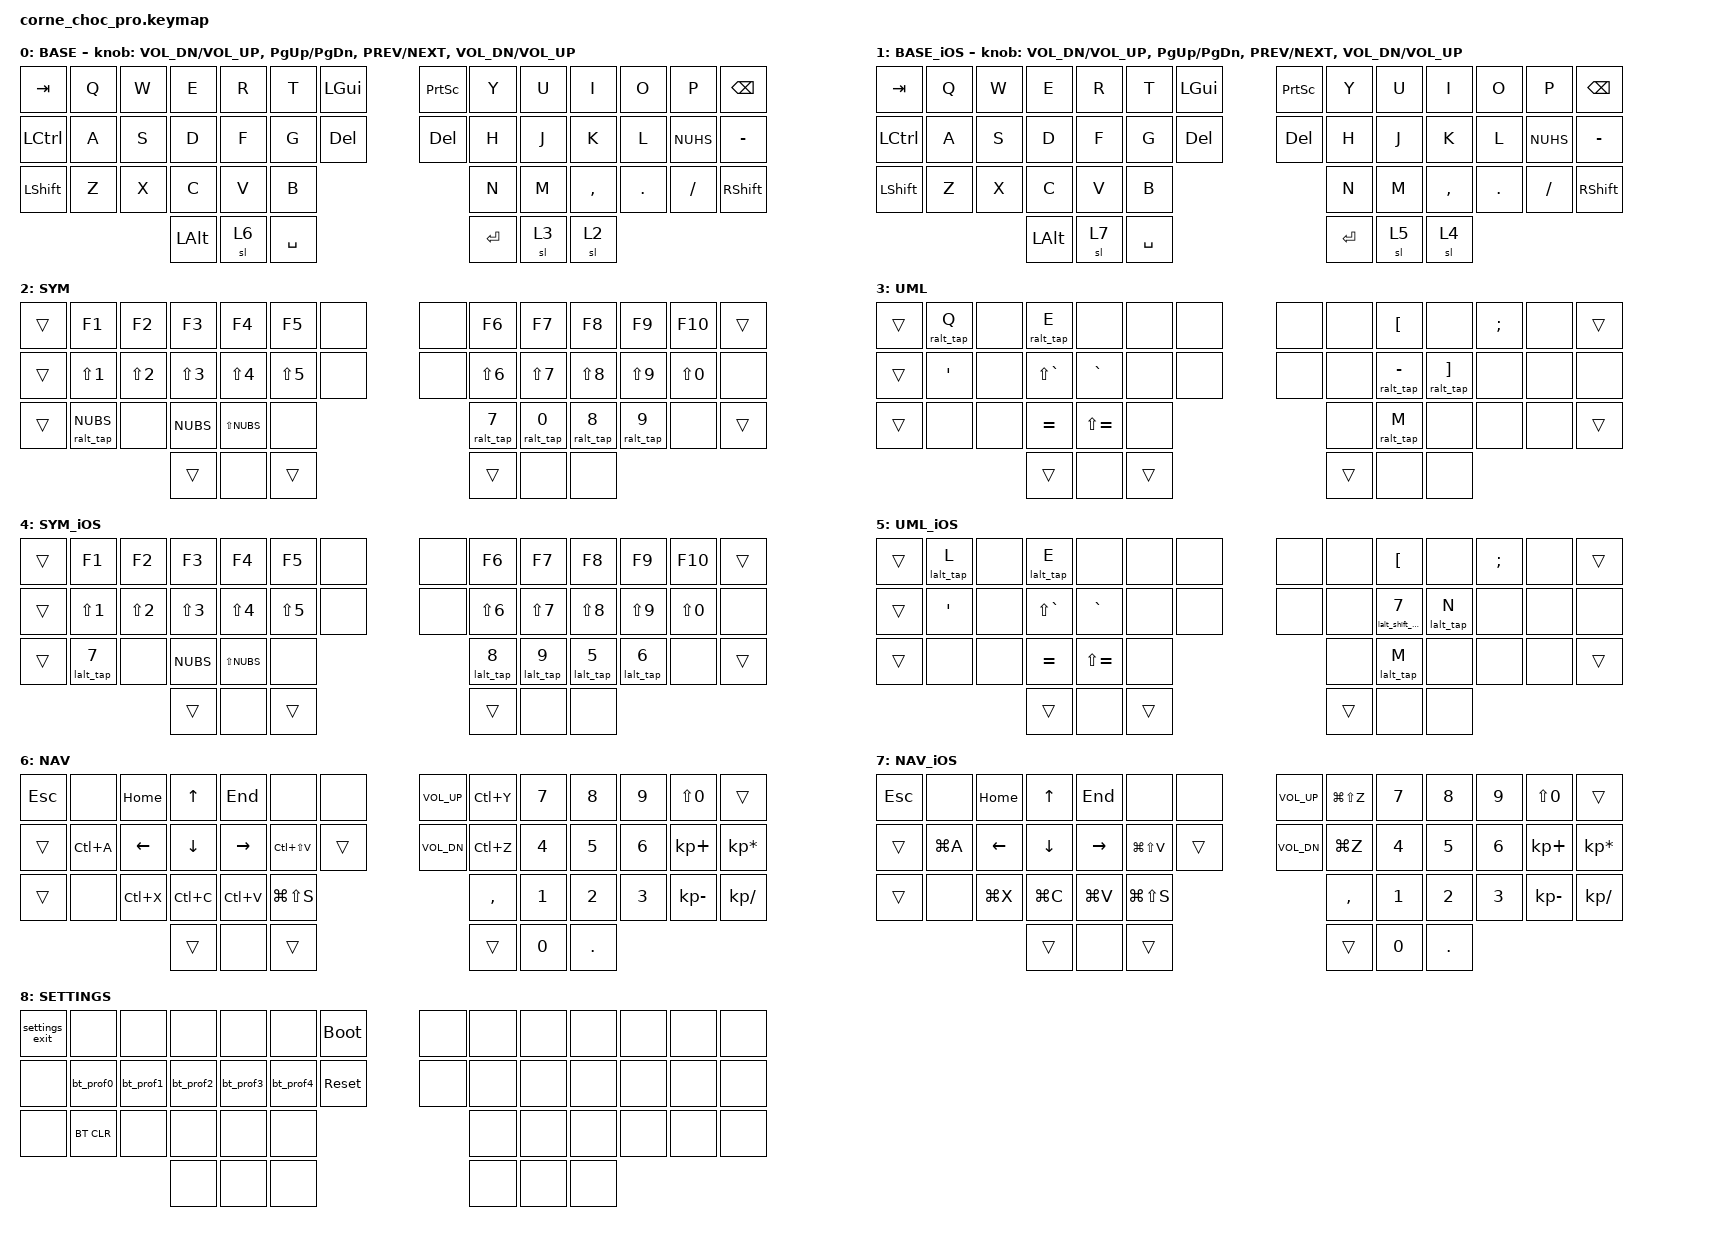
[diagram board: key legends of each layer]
/*
 * Copyright (c) 2020 The ZMK Contributors
 *
 * SPDX-License-Identifier: MIT
 *
 * Ported from a QMK keymap.c (German ISO Corne Choc Pro, LAYOUT_split_3x6_3_ex2).
 *
 * Layer order:
 *   0 base, 1 base_ios, 2 sym, 3 uml, 4 sym_ios, 5 uml_ios,
 *   6 nav, 7 nav_ios, 8 settings
 *
 * --- Windows / iPad switching ---
 * BT profile 2 is the iPad; profiles 0, 1, 3, 4 are treated as Windows.
 * Selecting a profile in SETTINGS automatically switches the default base layer: 
 *   - 0 for Windows (points to standard sym/uml/nav layers)
 *   - 1 for iPad (points to ios-specific sym/uml/nav layers)
 */

#include <behaviors.dtsi>
#include <dt-bindings/zmk/keys.h>
#include <dt-bindings/zmk/bt.h>
#include <dt-bindings/zmk/rgb.h>

/ {
    chosen {
        zmk,physical-layout = &default_layout;
    };
};

/ {
    macros {
        settings_enter: settings_enter {
            compatible = "zmk,behavior-macro";
            #binding-cells = <0>;
            bindings = <&rgb_ug RGB_ON>, <&tog 8>;
        };

        settings_exit: settings_exit {
            compatible = "zmk,behavior-macro";
            #binding-cells = <0>;
            bindings = <&rgb_ug RGB_OFF>, <&tog 8>;
        };

        ralt_tap: ralt_tap {
            compatible = "zmk,behavior-macro-one-param";
            #binding-cells = <1>;
            wait-ms = <15>;
            tap-ms = <15>;
            bindings
                = <&macro_press &kp RALT>
                , <&macro_param_1to1>
                , <&macro_tap &kp MACRO_PLACEHOLDER>
                , <&macro_release &kp RALT>
                ;
        };

        lalt_tap: lalt_tap {
            compatible = "zmk,behavior-macro-one-param";
            #binding-cells = <1>;
            wait-ms = <15>;
            tap-ms = <15>;
            bindings
                = <&macro_press &kp LALT>
                , <&macro_param_1to1>
                , <&macro_tap &kp MACRO_PLACEHOLDER>
                , <&macro_release &kp LALT>
                ;
        };

        lalt_shift_tap: lalt_shift_tap {
            compatible = "zmk,behavior-macro-one-param";
            #binding-cells = <1>;
            wait-ms = <15>;
            tap-ms = <15>;
            bindings
                = <&macro_press &kp LALT>
                , <&macro_press &kp LSHFT>
                , <&macro_param_1to1>
                , <&macro_tap &kp MACRO_PLACEHOLDER>
                , <&macro_release &kp LSHFT>
                , <&macro_release &kp LALT>
                ;
        };

        bt_prof0: bt_prof0 {
            compatible = "zmk,behavior-macro";
            #binding-cells = <0>;
            bindings = <&bt BT_SEL 0>, <&rgb_ug RGB_OFF>, <&to 0>;
        };

        bt_prof1: bt_prof1 {
            compatible = "zmk,behavior-macro";
            #binding-cells = <0>;
            bindings = <&bt BT_SEL 1>, <&rgb_ug RGB_OFF>, <&to 0>;
        };

        bt_prof2: bt_prof2 {
            compatible = "zmk,behavior-macro";
            #binding-cells = <0>;
            // The iPad profile switches base layout to layer 1.
            bindings = <&bt BT_SEL 2>, <&rgb_ug RGB_OFF>, <&to 1>;
        };

        bt_prof3: bt_prof3 {
            compatible = "zmk,behavior-macro";
            #binding-cells = <0>;
            bindings = <&bt BT_SEL 3>, <&rgb_ug RGB_OFF>, <&to 0>;
        };

        bt_prof4: bt_prof4 {
            compatible = "zmk,behavior-macro";
            #binding-cells = <0>;
            bindings = <&bt BT_SEL 4>, <&rgb_ug RGB_OFF>, <&to 0>;
        };
    };
};

/ {
    combos {
        compatible = "zmk,combos";

        combo_settings_layer {
            timeout-ms = <50>;
            key-positions = <0 43>;
            bindings = <&settings_enter>;
            layers = <0 1 8>;
        };
    };

    keymap {
        compatible = "zmk,keymap";

        base_layer {
            display-name = "BASE";
            bindings = <
                &kp TAB   &kp Q &kp W &kp E &kp R &kp T &kp LGUI    &kp PSCRN &kp Y &kp U &kp I     &kp O   &kp P    &kp BSPC
                &kp LCTRL &kp A &kp S &kp D &kp F &kp G &kp DEL     &kp DEL   &kp H &kp J &kp K     &kp L   &kp NUHS &kp MINUS
                &kp LSHFT &kp Z &kp X &kp C &kp V &kp B                      &kp N &kp M &kp COMMA &kp DOT &kp FSLH &kp RSHFT
                                      &kp LALT &sl 6 &kp SPACE               &kp RET &sl 3 &sl 2
            >;
            sensor-bindings = <&inc_dec_kp C_VOL_DN C_VOL_UP &inc_dec_kp PG_UP PG_DN &inc_dec_kp C_PREV C_NEXT &inc_dec_kp C_VOL_DN C_VOL_UP>;
        };

        base_ios_layer {
            display-name = "BASE_iOS";
            // iPad Base points to iOS specific NAV (sl 7), UML (sl 5), and SYM (sl 4)
            bindings = <
                &kp TAB   &kp Q &kp W &kp E &kp R &kp T &kp LGUI    &kp PSCRN &kp Y &kp U &kp I     &kp O   &kp P    &kp BSPC
                &kp LCTRL &kp A &kp S &kp D &kp F &kp G &kp DEL     &kp DEL   &kp H &kp J &kp K     &kp L   &kp NUHS &kp MINUS
                &kp LSHFT &kp Z &kp X &kp C &kp V &kp B                      &kp N &kp M &kp COMMA &kp DOT &kp FSLH &kp RSHFT
                                      &kp LALT &sl 7 &kp SPACE               &kp RET &sl 5 &sl 4
            >;
            sensor-bindings = <&inc_dec_kp C_VOL_DN C_VOL_UP &inc_dec_kp PG_UP PG_DN &inc_dec_kp C_PREV C_NEXT &inc_dec_kp C_VOL_DN C_VOL_UP>;
        };

        sym_layer {
            display-name = "SYM";
            bindings = <
                &trans &kp F1     &kp F2     &kp F3     &kp F4     &kp F5     &none          &none          &kp F6      &kp F7      &kp F8      &kp F9      &kp F10     &trans
                &trans &kp LS(N1) &kp LS(N2) &kp LS(N3) &kp LS(N4) &kp LS(N5) &none          &none          &kp LS(N6)  &kp LS(N7)  &kp LS(N8)  &kp LS(N9)  &kp LS(N0)  &none
                &trans &ralt_tap NUBS &none  &kp NUBS   &kp LS(NUBS) &none                      &ralt_tap N7 &ralt_tap N0 &ralt_tap N8 &ralt_tap N9 &none       &trans
                                      &trans &none &trans                     &trans &none &none
            >;
        };

        uml_layer {
            display-name = "UML";
            bindings = <
                &trans &ralt_tap Q &none &ralt_tap E   &none         &none  &none          &none          &none        &kp LBKT     &none        &kp SEMI &none  &trans
                &trans &kp SQT    &none  &kp LS(GRAVE) &kp GRAVE     &none  &none          &none          &none        &ralt_tap MINUS &ralt_tap RBKT &none  &none  &none
                &trans &none      &none  &kp EQUAL     &kp LS(EQUAL) &none                     &none        &ralt_tap M  &none        &none    &none  &trans
                                      &trans &none &trans                     &trans &none &none
            >;
        };

        sym_ios_layer {
            display-name = "SYM_iOS";
            bindings = <
                &trans &kp F1     &kp F2     &kp F3     &kp F4     &kp F5     &none          &none          &kp F6      &kp F7      &kp F8      &kp F9      &kp F10     &trans
                &trans &kp LS(N1) &kp LS(N2) &kp LS(N3) &kp LS(N4) &kp LS(N5) &none          &none          &kp LS(N6)  &kp LS(N7)  &kp LS(N8)  &kp LS(N9)  &kp LS(N0)  &none
                &trans &lalt_tap N7 &none  &kp NUBS   &kp LS(NUBS) &none                      &lalt_tap N8 &lalt_tap N9 &lalt_tap N5 &lalt_tap N6 &none       &trans
                                      &trans &none &trans                     &trans &none &none
            >;
        };

        uml_ios_layer {
            display-name = "UML_iOS";
            bindings = <
                &trans &lalt_tap L &none &lalt_tap E   &none         &none  &none          &none          &none        &kp LBKT     &none        &kp SEMI &none  &trans
                &trans &kp SQT    &none  &kp LS(GRAVE) &kp GRAVE     &none  &none          &none          &none        &lalt_shift_tap N7 &lalt_tap N &none  &none  &none
                &trans &none      &none  &kp EQUAL     &kp LS(EQUAL) &none                     &none        &lalt_tap M  &none        &none    &none  &trans
                                      &trans &none &trans                     &trans &none &none
            >;
        };

        nav_layer {
            display-name = "NAV";
            bindings = <
                &kp ESC   &none      &kp HOME &kp UP   &kp END   &none         &none         &kp C_VOL_UP   &kp LC(Y) &kp N7    &kp N8    &kp N9    &kp LS(N0)    &trans
                &trans    &kp LC(A)  &kp LEFT &kp DOWN &kp RIGHT &kp LC(LS(V)) &trans        &kp C_VOL_DN   &kp LC(Z) &kp N4    &kp N5    &kp N6    &kp KP_PLUS   &kp KP_MULTIPLY
                &trans    &none      &kp LC(X) &kp LC(C) &kp LC(V) &kp LG(LS(S))                      &kp COMMA &kp N1    &kp N2    &kp N3    &kp KP_MINUS  &kp KP_DIVIDE
                                      &trans &none &trans                     &trans &kp N0 &kp DOT
            >;
        };

        nav_ios_layer {
            display-name = "NAV_iOS";
            // Dedicated iOS Nav layer mapping Ctrl modifiers to Cmd modifiers
            bindings = <
                &kp ESC   &none      &kp HOME &kp UP   &kp END   &none         &none         &kp C_VOL_UP   &kp LG(LS(Z)) &kp N7    &kp N8    &kp N9    &kp LS(N0)    &trans
                &trans    &kp LG(A)  &kp LEFT &kp DOWN &kp RIGHT &kp LG(LS(V)) &trans        &kp C_VOL_DN   &kp LG(Z)     &kp N4    &kp N5    &kp N6    &kp KP_PLUS   &kp KP_MULTIPLY
                &trans    &none      &kp LG(X)  &kp LG(C)  &kp LG(V)  &kp LG(LS(S))                   &kp COMMA     &kp N1    &kp N2    &kp N3    &kp KP_MINUS  &kp KP_DIVIDE
                                      &trans &none &trans                     &trans &kp N0 &kp DOT
            >;
        };

        settings_layer {
            display-name = "SETTINGS";
            // Manual mac mod toggle removed since base layout strictly defines the nav variant used
            bindings = <
                &settings_exit &none    &none    &none    &none    &none &bootloader      &none &none &none &none &none &none &none
                &none          &bt_prof0 &bt_prof1 &bt_prof2 &bt_prof3 &bt_prof4 &sys_reset      &none &none &none &none &none &none &none
                &none          &bt BT_CLR  &none       &none       &none       &none                &none &none &none &none &none &none
                                    &none &none &none                  &none &none &none
            >;
        };
    };
};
